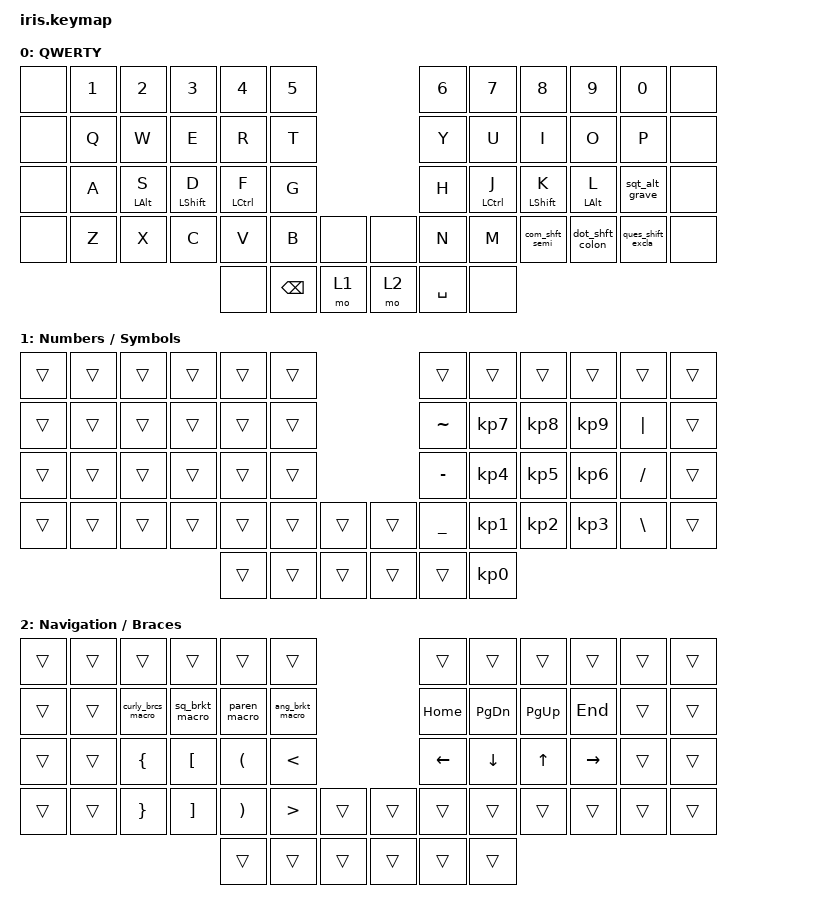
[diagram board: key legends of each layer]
/*
 * Copyright (c) 2020 The ZMK Contributors
 *
 * SPDX-License-Identifier: MIT
 */

#include <behaviors.dtsi>
#include <dt-bindings/zmk/keys.h>

/ {
    combos {
        compatible = "zmk,combos";

        df_tab_combo {
            bindings = <&kp TAB>;
            key-positions = <28 27>;
        };

        we_escape_combo {
            bindings = <&kp ESCAPE>;
            key-positions = <15 14>;
        };

        jk_enter_combo {
            bindings = <&kp ENTER>;
            key-positions = <31 32>;
        };
    };

    macros {
        paren_macro: paren_macro {
            compatible = "zmk,behavior-macro";
            #binding-cells = <0>;
            bindings = <&kp LEFT_PARENTHESIS &kp RIGHT_PARENTHESIS &kp LEFT_ARROW>;
            label = "PAREN_MACRO";
        };

        sq_brkt_macro: new_macro {
            compatible = "zmk,behavior-macro";
            #binding-cells = <0>;
            bindings = <&kp LEFT_BRACKET &kp RIGHT_BRACKET &kp LEFT_ARROW>;
            label = "NEW_MACRO";
        };

        curly_brcs_macro: curly_brcs_macro {
            compatible = "zmk,behavior-macro";
            #binding-cells = <0>;
            bindings = <&kp LEFT_BRACE &kp RIGHT_BRACE &kp LEFT_ARROW>;
            label = "CURLY_BRCS_MACRO";
        };

        s_quote_macro: s_quote_macro {
            compatible = "zmk,behavior-macro";
            #binding-cells = <0>;
            bindings = <&kp SQT &kp SQT &kp LEFT_ARROW>;
            label = "S_QUOTE_MACRO";
        };

        d_quot_macro: d_quot_macro {
            compatible = "zmk,behavior-macro";
            #binding-cells = <0>;
            bindings = <&kp DOUBLE_QUOTES &kp DOUBLE_QUOTES &kp LEFT_ARROW>;
            label = "D_QUOT_MACRO";
        };

        ang_brkt_macro: ang_brkt_macro {
            compatible = "zmk,behavior-macro";
            #binding-cells = <0>;
            bindings = <&kp LESS_THAN &kp GREATER_THAN &kp LEFT_ARROW>;
            label = "ANG_BRKT_MACRO";
        };
    };

    behaviors {
        sqt_alt_grave: sqt_alt_grave {
            compatible = "zmk,behavior-mod-morph";
            label = "SQT_ALT_GRAVE";
            bindings = <&kp SINGLE_QUOTE>, <&kp GRAVE>;

            #binding-cells = <0>;
            mods = <(MOD_LALT)>;
        };

        ques_shift_excla: ques_shift_excla {
            compatible = "zmk,behavior-mod-morph";
            label = "QUES_SHIFT_EXCLA";
            bindings = <&kp QUESTION>, <&kp EXCLAMATION>;

            #binding-cells = <0>;
            mods = <(MOD_LSFT)>;
        };

        com_shft_semi: com_shft_semi {
            compatible = "zmk,behavior-mod-morph";
            label = "COM_SHFT_SEMI";
            bindings = <&kp COMMA>, <&kp SEMICOLON>;

            #binding-cells = <0>;
            mods = <(MOD_LSFT)>;
        };

        dot_shft_colon: dot_shft_colon {
            compatible = "zmk,behavior-mod-morph";
            label = "DOT_SHFT_COLON";
            bindings = <&kp PERIOD>, <&kp COLON>;

            #binding-cells = <0>;
            mods = <(MOD_LSFT)>;
        };
    };

    keymap {
        compatible = "zmk,keymap";

        qwerty_layer {
            // ------------------------------------------------------------------------------------------------------------
            // |  ESC  |  1  |  2  |  3   |  4   |  5   |                   |  6   |  7    |  8    |  9   |   0   |   `   |
            // |  TAB  |  Q  |  W  |  E   |  R   |  T   |                   |  Y   |  U    |  I    |  O   |   P   |   -   |
            // |  CTRL |  A  |  S  |  D   |  F   |  G   |                   |  H   |  J    |  K    |  L   |   ;   |   '   |
            // | SHIFT |  Z  |  X  |  C   |  V   |  B   |   "["  |  |  "]"  |  N   |  M    |  ,    |  .   |   /   | SHIFT |
            //                            | GUI  | LOWER|  SPACE |  | ENTER | RAISE|  ALT  |

            bindings = <
&none  &kp N1  &kp N2          &kp N3            &kp N4              &kp N5                       &kp N6     &kp N7              &kp N8            &kp N9           &kp N0             &none
&none  &kp Q   &kp W           &kp E             &kp R               &kp T                        &kp Y      &kp U               &kp I             &kp O            &kp P              &none
&none  &kp A   &mt LEFT_ALT S  &mt LEFT_SHIFT D  &mt LEFT_CONTROL F  &kp G                        &kp H      &mt LEFT_CONTROL J  &mt LEFT_SHIFT K  &mt LEFT_ALT L   &sqt_alt_grave     &none
&none  &kp Z   &kp X           &kp C             &kp V               &kp B          &none  &none  &kp N      &kp M               &com_shft_semi    &dot_shft_colon  &ques_shift_excla  &none
                                                 &none               &kp BACKSPACE  &mo 1  &mo 2  &kp SPACE  &none
            >;

            label = "QWERTY";
        };

        num_sym {
            bindings = <
&trans  &trans  &trans  &trans  &trans  &trans                  &trans          &trans           &trans           &trans     &trans         &trans
&trans  &trans  &trans  &trans  &trans  &trans                  &kp TILDE       &kp KP_N7        &kp KP_N8        &kp KP_N9  &kp PIPE       &trans
&trans  &trans  &trans  &trans  &trans  &trans                  &kp MINUS       &kp KP_NUMBER_4  &kp KP_NUMBER_5  &kp KP_N6  &kp SLASH      &trans
&trans  &trans  &trans  &trans  &trans  &trans  &trans  &trans  &kp UNDERSCORE  &kp KP_N1        &kp KP_N2        &kp KP_N3  &kp BACKSLASH  &trans
                                &trans  &trans  &trans  &trans  &trans          &kp KP_N0
            >;

            label = "Numbers / Symbols";
        };

        nav_brcs {
            bindings = <
&trans  &trans  &trans             &trans             &trans                 &trans                            &trans          &trans          &trans        &trans           &trans  &trans
&trans  &trans  &curly_brcs_macro  &sq_brkt_macro     &paren_macro           &ang_brkt_macro                   &kp HOME        &kp PAGE_DOWN   &kp PAGE_UP   &kp END          &trans  &trans
&trans  &trans  &kp LEFT_BRACE     &kp LEFT_BRACKET   &kp LEFT_PARENTHESIS   &kp LESS_THAN                     &kp LEFT_ARROW  &kp DOWN_ARROW  &kp UP_ARROW  &kp RIGHT_ARROW  &trans  &trans
&trans  &trans  &kp RIGHT_BRACE    &kp RIGHT_BRACKET  &kp RIGHT_PARENTHESIS  &kp GREATER_THAN  &trans  &trans  &trans          &trans          &trans        &trans           &trans  &trans
                                                      &trans                 &trans            &trans  &trans  &trans          &trans
            >;

            label = "Navigation / Braces";
        };
    };
};
